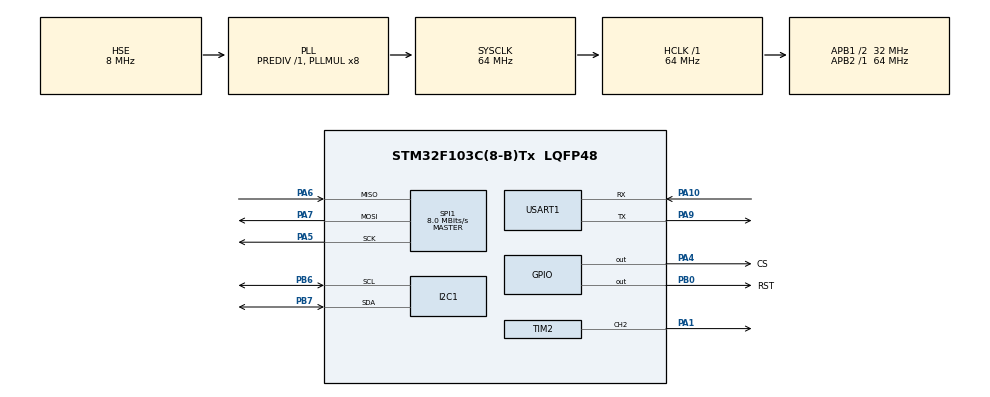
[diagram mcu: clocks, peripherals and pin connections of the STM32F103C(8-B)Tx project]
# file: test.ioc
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Mcu.Family=STM32F1
Mcu.Name=STM32F103C(8-B)Tx
Mcu.Package=LQFP48
NVIC.PriorityGroup=NVIC_PRIORITYGROUP_4
PA0-WKUP.Mode=SYS_WakeUp0
PA0-WKUP.Signal=SYS_WKUP
PA1.Signal=S_TIM2_CH2
PA10.Mode=Asynchronous
PA10.Signal=USART1_RX
PA13.Mode=Serial_Wire
PA13.Signal=SYS_JTMS-SWDIO
PA14.Mode=Serial_Wire
PA14.Signal=SYS_JTCK-SWCLK
PA4.GPIO_Label=CS
PA4.Signal=GPIO_Output
PA5.Mode=Full_Duplex_Master
PA5.Signal=SPI1_SCK
PA6.Mode=Full_Duplex_Master
PA6.Signal=SPI1_MISO
PA7.Mode=Full_Duplex_Master
PA7.Signal=SPI1_MOSI
PA9.Mode=Asynchronous
PA9.Signal=USART1_TX
PB0.GPIO_Label=RST
PB0.Signal=GPIO_Output
PB6.Mode=I2C
PB6.Signal=I2C1_SCL
PB7.Mode=I2C
PB7.Signal=I2C1_SDA
PD0-OSC_IN.Mode=HSE-External-Oscillator
PD0-OSC_IN.Signal=RCC_OSC_IN
PD1-OSC_OUT.Mode=HSE-External-Oscillator
PD1-OSC_OUT.Signal=RCC_OSC_OUT
ProjectManager.HeapSize=0x200
ProjectManager.StackSize=0x400
ProjectManager.TargetToolchain=CMake
RCC.AHBFreq_Value=64000000
RCC.APB1CLKDivider=RCC_HCLK_DIV2
RCC.APB1Freq_Value=32000000
RCC.APB1TimFreq_Value=64000000
RCC.APB2Freq_Value=64000000
RCC.APB2TimFreq_Value=64000000
RCC.HCLKFreq_Value=64000000
RCC.PLLMUL=RCC_PLL_MUL8
RCC.PLLSourceVirtual=RCC_PLLSOURCE_HSE
RCC.SYSCLKFreq_VALUE=64000000
RCC.SYSCLKSource=RCC_SYSCLKSOURCE_PLLCLK
RCC.USBFreq_Value=64000000
SH.S_TIM2_CH2.0=TIM2_CH2,PWM Generation2 CH2
SPI1.BaudRatePrescaler=SPI_BAUDRATEPRESCALER_8
SPI1.CalculateBaudRate=8.0 MBits/s
SPI1.Direction=SPI_DIRECTION_2LINES
SPI1.Mode=SPI_MODE_MASTER
SPI1.VirtualType=VM_MASTER
TIM2.Channel-PWM\ Generation2\ CH2=TIM_CHANNEL_2
TIM2.Prescaler=63
USART1.VirtualMode=VM_ASYNC
board=custom

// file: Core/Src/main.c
/* USER CODE BEGIN Header */
/**
  ******************************************************************************
  * @file           : main.c
  * @brief          : SD Card SPI Test (Stable Version)
  ******************************************************************************
  */
/* USER CODE END Header */
#include "main.h"
#include "RC522.h"
#include "string.h"
#include "stdio.h"
#include "DS1307.h"

/* USER CODE BEGIN PD */
uint8_t uid1[4] = {0x33,0x83,0x34,0x06};
uint8_t uid2[4] = {0x41,0x85, 0x6A,0x1C};

/* USER CODE END PD */

I2C_HandleTypeDef hi2c1;

SPI_HandleTypeDef hspi1;

TIM_HandleTypeDef htim2;

UART_HandleTypeDef huart1;

/* USER CODE BEGIN PV */
uint8_t status;
uint8_t str[MAX_LEN]; // Max_LEN = 16

/* USER CODE END PV */

void SystemClock_Config(void);
static void MX_GPIO_Init(void);
static void MX_SPI1_Init(void);
static void MX_USART1_UART_Init(void);
static void MX_I2C1_Init(void);
static void MX_TIM2_Init(void);

/* USER CODE BEGIN 0 */

int _write(int fd, char *ptr, int len) {
	HAL_StatusTypeDef hstatus;

	if (fd == 1 || fd == 2) {
		hstatus = HAL_UART_Transmit(&huart1, (uint8_t*) ptr, len,HAL_MAX_DELAY);
		if (hstatus == HAL_OK)
			return len;
		else
			return -1;
	}
	return -1;
}
/* USER CODE END 0 */

int main(void)
{

  /* MCU Configuration--------------------------------------------------------*/

  /* Reset of all peripherals, Initializes the Flash interface and the Systick. */
  HAL_Init();

  /* Configure the system clock */
  SystemClock_Config();

  /* Initialize all configured peripherals */
  MX_GPIO_Init();
  MX_SPI1_Init();
  MX_USART1_UART_Init();
  MX_I2C1_Init();
  MX_TIM2_Init();
  /* USER CODE BEGIN 2 */
  MFRC522_Init();
  DS1307_RTC time;

  time.sec = 0;
  time.min = 56;
  time.hour = 11;
  time.date = 13;
  time.month = 11;
  time.year =25;
  /* USER CODE END 2 */

  /* Infinite loop */
  /* USER CODE BEGIN WHILE */
  DS1307_Write(&time);

  DS1307_Start();
  while (1)
  {
    /* USER CODE END WHILE */

    /* USER CODE BEGIN 3 */

    DS1307_Read(&time);
    status = MFRC522_Request(PICC_REQIDL, str); // quét xem có thẻ hợp lệ k. và thẻ này sẽ được ghi vào mảng str
    if (status == MI_OK)
    {

        status = MFRC522_Anticoll(str);
        if (status == MI_OK)
        {
            printf("nhận thẻ lúc. date:%02d month: %02d year :%02d  - %02d:%02d:%02d ",time.date,time.month,time.year,time.hour, time.min, time.sec);
            printf("UID: ");
            for (uint8_t i = 0; i < 4; i++)
            {
              printf("%02X ",str[i]);
            }
            uint8_t check1 = 1;
            for (uint8_t i = 0; i < 4; i++)
            {
              if(str[i] != uid1[i])
              {
                check1 = 0;
                break;
              }
            }
            uint8_t check2 = 1;
            for (uint8_t i = 0; i < 4; i++)
            {
              if(str[i] != uid2[i])
              {
                check2 = 0;
                break;
              }
            }
            if(check1 || check2)
            {
              printf("đúng thẻ \n");
              HAL_TIM_PWM_Start(&htim2, TIM_CHANNEL_2);
              __HAL_TIM_SET_COMPARE(&htim2, TIM_CHANNEL_2, 2000);
              HAL_Delay(3000);
              __HAL_TIM_SET_COMPARE(&htim2, TIM_CHANNEL_2, 1000);
            }
            else
            {
              printf("không đúng thẻ\n");
            }
            printf("\r\n");
            MFRC522_Halt();
            MFRC522_StopCrypto1();
        }

    }

    HAL_Delay(500);
  }
  /* USER CODE END 3 */
}

void SystemClock_Config(void)
{
  RCC_OscInitTypeDef RCC_OscInitStruct = {0};
  RCC_ClkInitTypeDef RCC_ClkInitStruct = {0};

  /** Initializes the RCC Oscillators according to the specified parameters
  * in the RCC_OscInitTypeDef structure.
  */
  RCC_OscInitStruct.OscillatorType = RCC_OSCILLATORTYPE_HSE;
  RCC_OscInitStruct.HSEState = RCC_HSE_ON;
  RCC_OscInitStruct.HSEPredivValue = RCC_HSE_PREDIV_DIV1;
  RCC_OscInitStruct.HSIState = RCC_HSI_ON;
  RCC_OscInitStruct.PLL.PLLState = RCC_PLL_ON;
  RCC_OscInitStruct.PLL.PLLSource = RCC_PLLSOURCE_HSE;
  RCC_OscInitStruct.PLL.PLLMUL = RCC_PLL_MUL8;
  if (HAL_RCC_OscConfig(&RCC_OscInitStruct) != HAL_OK)
  {
    Error_Handler();
  }

  /** Initializes the CPU, AHB and APB buses clocks
  */
  RCC_ClkInitStruct.ClockType = RCC_CLOCKTYPE_HCLK|RCC_CLOCKTYPE_SYSCLK
                              |RCC_CLOCKTYPE_PCLK1|RCC_CLOCKTYPE_PCLK2;
  RCC_ClkInitStruct.SYSCLKSource = RCC_SYSCLKSOURCE_PLLCLK;
  RCC_ClkInitStruct.AHBCLKDivider = RCC_SYSCLK_DIV1;
  RCC_ClkInitStruct.APB1CLKDivider = RCC_HCLK_DIV2;
  RCC_ClkInitStruct.APB2CLKDivider = RCC_HCLK_DIV1;

  if (HAL_RCC_ClockConfig(&RCC_ClkInitStruct, FLASH_LATENCY_2) != HAL_OK)
  {
    Error_Handler();
  }
}

static void MX_I2C1_Init(void)
{

  hi2c1.Instance = I2C1;
  hi2c1.Init.ClockSpeed = 100000;
  hi2c1.Init.DutyCycle = I2C_DUTYCYCLE_2;
  hi2c1.Init.OwnAddress1 = 0;
  hi2c1.Init.AddressingMode = I2C_ADDRESSINGMODE_7BIT;
  hi2c1.Init.DualAddressMode = I2C_DUALADDRESS_DISABLE;
  hi2c1.Init.OwnAddress2 = 0;
  hi2c1.Init.GeneralCallMode = I2C_GENERALCALL_DISABLE;
  hi2c1.Init.NoStretchMode = I2C_NOSTRETCH_DISABLE;
  if (HAL_I2C_Init(&hi2c1) != HAL_OK)
  {
    Error_Handler();
  }

}

static void MX_SPI1_Init(void)
{

  /* SPI1 parameter configuration*/
  hspi1.Instance = SPI1;
  hspi1.Init.Mode = SPI_MODE_MASTER;
  hspi1.Init.Direction = SPI_DIRECTION_2LINES;
  hspi1.Init.DataSize = SPI_DATASIZE_8BIT;
  hspi1.Init.CLKPolarity = SPI_POLARITY_LOW;
  hspi1.Init.CLKPhase = SPI_PHASE_1EDGE;
  hspi1.Init.NSS = SPI_NSS_SOFT;
  hspi1.Init.BaudRatePrescaler = SPI_BAUDRATEPRESCALER_8;
  hspi1.Init.FirstBit = SPI_FIRSTBIT_MSB;
  hspi1.Init.TIMode = SPI_TIMODE_DISABLE;
  hspi1.Init.CRCCalculation = SPI_CRCCALCULATION_DISABLE;
  hspi1.Init.CRCPolynomial = 10;
  if (HAL_SPI_Init(&hspi1) != HAL_OK)
  {
    Error_Handler();
  }

}

static void MX_TIM2_Init(void)
{

  TIM_MasterConfigTypeDef sMasterConfig = {0};
  TIM_OC_InitTypeDef sConfigOC = {0};

  htim2.Instance = TIM2;
  htim2.Init.Prescaler = 63;
  htim2.Init.CounterMode = TIM_COUNTERMODE_UP;
  htim2.Init.Period = 65535;
  htim2.Init.ClockDivision = TIM_CLOCKDIVISION_DIV1;
  htim2.Init.AutoReloadPreload = TIM_AUTORELOAD_PRELOAD_DISABLE;
  if (HAL_TIM_PWM_Init(&htim2) != HAL_OK)
  {
    Error_Handler();
  }
  sMasterConfig.MasterOutputTrigger = TIM_TRGO_RESET;
  sMasterConfig.MasterSlaveMode = TIM_MASTERSLAVEMODE_DISABLE;
  if (HAL_TIMEx_MasterConfigSynchronization(&htim2, &sMasterConfig) != HAL_OK)
  {
    Error_Handler();
  }
  sConfigOC.OCMode = TIM_OCMODE_PWM1;
  sConfigOC.Pulse = 0;
  sConfigOC.OCPolarity = TIM_OCPOLARITY_HIGH;
  sConfigOC.OCFastMode = TIM_OCFAST_DISABLE;
  if (HAL_TIM_PWM_ConfigChannel(&htim2, &sConfigOC, TIM_CHANNEL_2) != HAL_OK)
  {
    Error_Handler();
  }
  HAL_TIM_MspPostInit(&htim2);

}

static void MX_USART1_UART_Init(void)
{

  huart1.Instance = USART1;
  huart1.Init.BaudRate = 115200;
  huart1.Init.WordLength = UART_WORDLENGTH_8B;
  huart1.Init.StopBits = UART_STOPBITS_1;
  huart1.Init.Parity = UART_PARITY_NONE;
  huart1.Init.Mode = UART_MODE_TX_RX;
  huart1.Init.HwFlowCtl = UART_HWCONTROL_NONE;
  huart1.Init.OverSampling = UART_OVERSAMPLING_16;
  if (HAL_UART_Init(&huart1) != HAL_OK)
  {
    Error_Handler();
  }

}

static void MX_GPIO_Init(void)
{
  GPIO_InitTypeDef GPIO_InitStruct = {0};

  /* GPIO Ports Clock Enable */
  __HAL_RCC_GPIOD_CLK_ENABLE();
  __HAL_RCC_GPIOA_CLK_ENABLE();
  __HAL_RCC_GPIOB_CLK_ENABLE();

  /*Configure GPIO pin Output Level */
  HAL_GPIO_WritePin(CS_GPIO_Port, CS_Pin, GPIO_PIN_RESET);

  /*Configure GPIO pin Output Level */
  HAL_GPIO_WritePin(RST_GPIO_Port, RST_Pin, GPIO_PIN_RESET);

  /*Configure GPIO pin : CS_Pin */
  GPIO_InitStruct.Pin = CS_Pin;
  GPIO_InitStruct.Mode = GPIO_MODE_OUTPUT_PP;
  GPIO_InitStruct.Pull = GPIO_NOPULL;
  GPIO_InitStruct.Speed = GPIO_SPEED_FREQ_LOW;
  HAL_GPIO_Init(CS_GPIO_Port, &GPIO_InitStruct);

  /*Configure GPIO pin : RST_Pin */
  GPIO_InitStruct.Pin = RST_Pin;
  GPIO_InitStruct.Mode = GPIO_MODE_OUTPUT_PP;
  GPIO_InitStruct.Pull = GPIO_NOPULL;
  GPIO_InitStruct.Speed = GPIO_SPEED_FREQ_LOW;
  HAL_GPIO_Init(RST_GPIO_Port, &GPIO_InitStruct);

}

void Error_Handler(void)
{
  __disable_irq();
  while (1)
  {
  }
}
